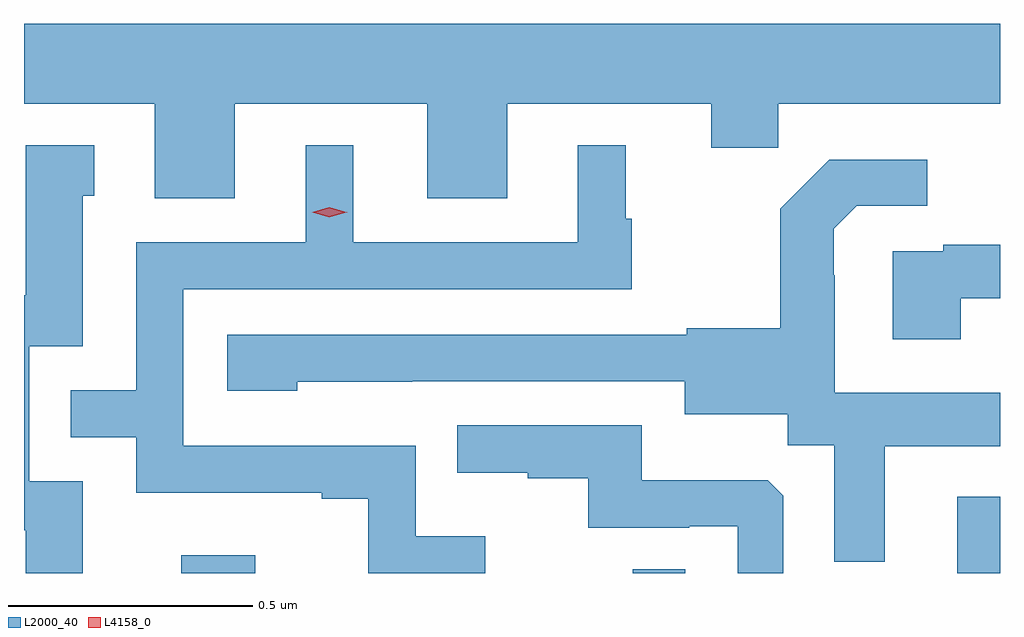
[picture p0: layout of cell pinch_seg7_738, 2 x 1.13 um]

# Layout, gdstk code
import gdstk
lib = gdstk.Library(unit=1e-6, precision=1e-09)
def R(c, l, rs):  # rectangles x0, y0, x1, y1
    for r in rs: c.add(gdstk.rectangle(r[:2], r[2:], *l))
def P(c, l, *ps):  # polygons
    for p in ps: c.add(gdstk.Polygon(p, *l))
L2000_40 = (2000, 40)
L4158_0 = (4158, 0)

pinch_seg7_738 = lib.new_cell('pinch_seg7_738')
R(pinch_seg7_738, L2000_40, [(258.653,1011.642,258.805,1011.679), (259.578,1011.642,259.686,1011.65), (260.243,1011.642,260.331,1011.799)])
P(pinch_seg7_738, L2000_40, [(258.763,1012.604),(259.157,1012.604),(259.157,1012.41),(259.321,1012.41),(259.321,1012.604),(259.739,1012.604),(259.739,1012.514),(259.877,1012.514),(259.877,1012.604),(260.331,1012.604),(260.331,1012.768),(258.331,1012.768),(258.331,1012.604),(258.599,1012.604),(258.599,1012.41),(258.763,1012.41)],
  [(258.451,1011.831),(258.342,1011.831),(258.342,1012.107),(258.451,1012.107),(258.451,1012.416),(258.475,1012.416),(258.475,1012.519),(258.335,1012.519),(258.335,1012.212),(258.331,1012.212),(258.331,1011.73),(258.335,1011.73),(258.335,1011.642),(258.451,1011.642)],
  [(259.276,1011.718),(259.134,1011.718),(259.134,1011.903),(258.657,1011.903),(258.657,1012.224),(259.576,1012.224),(259.576,1012.368),(259.564,1012.368),(259.564,1012.519),(259.466,1012.519),(259.466,1012.32),(259.006,1012.32),(259.006,1012.519),(258.908,1012.519),(258.908,1012.32),(258.561,1012.32),(258.561,1012.017),(258.427,1012.017),(258.427,1011.921),(258.561,1011.921),(258.561,1011.807),(258.941,1011.807),(258.941,1011.795),(259.036,1011.795),(259.036,1011.642),(259.276,1011.642)],
  [(260.095,1011.902),(260.331,1011.902),(260.331,1012.012),(259.992,1012.012),(259.992,1012.253),(259.99,1012.253),(259.99,1012.348),(260.037,1012.395),(260.182,1012.395),(260.182,1012.489),(259.981,1012.489),(259.881,1012.389),(259.881,1012.144),(259.689,1012.144),(259.689,1012.131),(258.747,1012.131),(258.747,1012.016),(258.891,1012.016),(258.891,1012.034),(259.127,1012.034),(259.127,1012.035),(259.685,1012.035),(259.685,1011.968),(259.896,1011.968),(259.896,1011.904),(259.991,1011.904),(259.991,1011.666),(260.095,1011.666)],
  [(260.251,1012.206),(260.331,1012.206),(260.331,1012.315),(260.215,1012.315),(260.215,1012.302),(260.111,1012.302),(260.111,1012.122),(260.251,1012.122)],
  [(259.887,1011.801),(259.855,1011.833),(259.597,1011.833),(259.597,1011.945),(259.219,1011.945),(259.219,1011.848),(259.363,1011.848),(259.363,1011.837),(259.487,1011.837),(259.487,1011.735),(259.694,1011.735),(259.694,1011.738),(259.794,1011.738),(259.794,1011.642),(259.887,1011.642)])
P(pinch_seg7_738, L4158_0, [(258.957,1012.372),(258.922,1012.382),(258.921,1012.382),(258.922,1012.382),(258.957,1012.392),(258.992,1012.382),(258.993,1012.382),(258.992,1012.382)])

lib.write_gds('pinch_seg7_738.gds')
